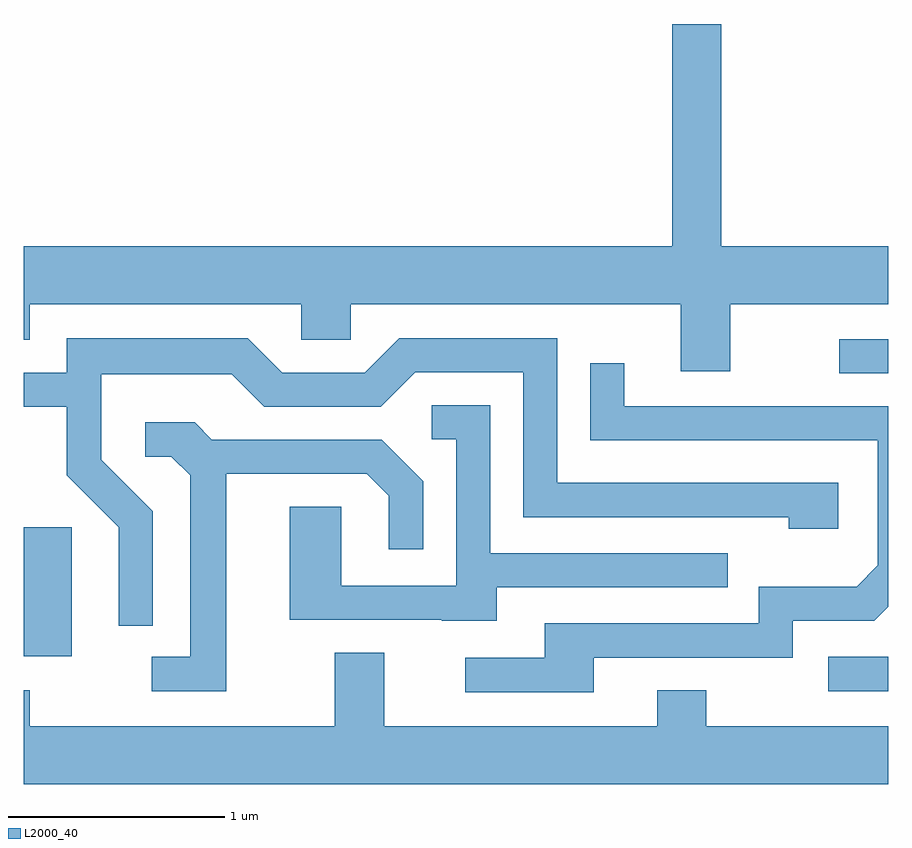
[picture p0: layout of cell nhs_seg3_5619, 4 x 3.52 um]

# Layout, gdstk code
import gdstk
lib = gdstk.Library(unit=1e-6, precision=1e-09)
def R(c, l, rs):  # rectangles x0, y0, x1, y1
    for r in rs: c.add(gdstk.rectangle(r[:2], r[2:], *l))
def P(c, l, *ps):  # polygons
    for p in ps: c.add(gdstk.Polygon(p, *l))
L2000_40 = (2000, 40)

nhs_seg3_5619 = lib.new_cell('nhs_seg3_5619')
R(nhs_seg3_5619, L2000_40, [(353.333,1210.806,353.611,1210.964), (349.611,1210.966,349.834,1211.564), (353.383,1212.276,353.611,1212.434)])
P(nhs_seg3_5619, L2000_40, [(349.611,1212.431),(349.639,1212.431),(349.639,1212.596),(350.896,1212.596),(350.896,1212.431),(351.124,1212.431),(351.124,1212.596),(352.651,1212.596),(352.651,1212.286),(352.879,1212.286),(352.879,1212.596),(353.611,1212.596),(353.611,1212.864),(352.839,1212.864),(352.839,1213.892),(352.611,1213.892),(352.611,1212.864),(349.611,1212.864)],
  [(350.209,1211.637),(349.969,1211.877),(349.969,1212.271),(350.574,1212.271),(350.724,1212.121),(351.262,1212.121),(351.422,1212.281),(351.921,1212.281),(351.921,1211.611),(353.151,1211.611),(353.151,1211.556),(353.379,1211.556),(353.379,1211.769),(352.079,1211.769),(352.079,1212.439),(351.349,1212.439),(351.189,1212.279),(350.807,1212.279),(350.647,1212.439),(349.811,1212.439),(349.811,1212.279),(349.611,1212.279),(349.611,1212.121),(349.811,1212.121),(349.811,1211.804),(350.051,1211.564),(350.051,1211.108),(350.209,1211.108)],
  [(352.249,1210.961),(353.169,1210.961),(353.169,1211.131),(353.547,1211.131),(353.611,1211.195),(353.611,1212.124),(352.389,1212.124),(352.389,1212.323),(352.231,1212.323),(352.231,1211.966),(353.561,1211.966),(353.561,1211.387),(353.464,1211.289),(353.011,1211.289),(353.011,1211.119),(352.021,1211.119),(352.021,1210.959),(351.653,1210.959),(351.653,1210.801),(352.249,1210.801)],
  [(351.799,1211.286),(352.868,1211.286),(352.868,1211.444),(351.769,1211.444),(351.769,1212.129),(351.498,1212.129),(351.498,1211.971),(351.611,1211.971),(351.611,1211.294),(351.079,1211.294),(351.079,1211.659),(350.841,1211.659),(350.841,1211.136),(351.545,1211.136),(351.545,1211.131),(351.799,1211.131)],
  [(350.549,1211.811),(351.199,1211.811),(351.301,1211.709),(351.301,1211.463),(351.459,1211.463),(351.459,1211.777),(351.267,1211.969),(350.482,1211.969),(350.402,1212.049),(350.173,1212.049),(350.173,1211.891),(350.294,1211.891),(350.381,1211.804),(350.381,1210.964),(350.203,1210.964),(350.203,1210.806),(350.549,1210.806)],
  [(353.611,1210.644),(352.769,1210.644),(352.769,1210.809),(352.541,1210.809),(352.541,1210.644),(351.279,1210.644),(351.279,1210.984),(351.051,1210.984),(351.051,1210.644),(349.639,1210.644),(349.639,1210.809),(349.611,1210.809),(349.611,1210.376),(353.611,1210.376)])

lib.write_gds('nhs_seg3_5619.gds')
